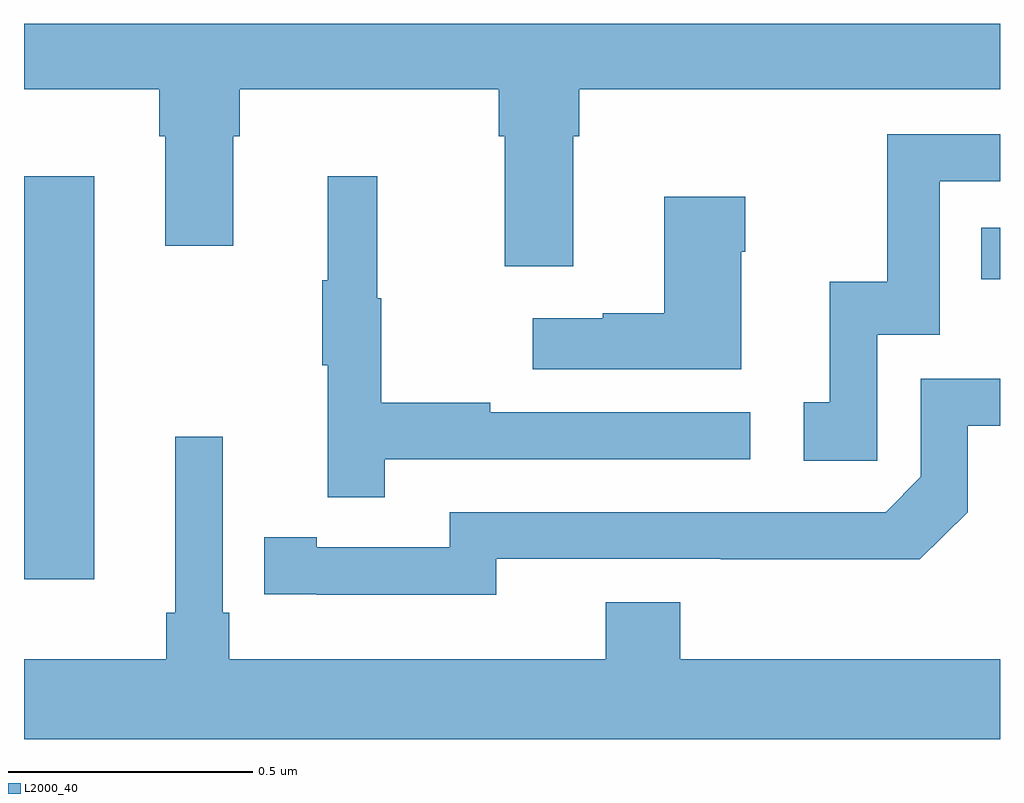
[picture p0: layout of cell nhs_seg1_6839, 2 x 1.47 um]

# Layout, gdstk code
import gdstk
lib = gdstk.Library(unit=1e-6, precision=1e-09)
def R(c, l, rs):  # rectangles x0, y0, x1, y1
    for r in rs: c.add(gdstk.rectangle(r[:2], r[2:], *l))
def P(c, l, *ps):  # polygons
    for p in ps: c.add(gdstk.Polygon(p, *l))
L2000_40 = (2000, 40)

nhs_seg1_6839 = lib.new_cell('nhs_seg1_6839')
R(nhs_seg1_6839, L2000_40, [(196,552.06,196.144,552.886), (197.962,552.675,198,552.781)])
P(nhs_seg1_6839, L2000_40, [(197.125,552.968),(197.138,552.968),(197.138,553.064),(198,553.064),(198,553.199),(196,553.199),(196,553.064),(196.277,553.064),(196.277,552.968),(196.289,552.968),(196.289,552.744),(196.429,552.744),(196.429,552.968),(196.442,552.968),(196.442,553.064),(196.973,553.064),(196.973,552.968),(196.985,552.968),(196.985,552.702),(197.125,552.702)],
  [(197.748,552.561),(197.877,552.561),(197.877,552.876),(198,552.876),(198,552.972),(197.769,552.972),(197.769,552.67),(197.651,552.67),(197.651,552.423),(197.598,552.423),(197.598,552.303),(197.748,552.303)],
  [(196.739,552.306),(197.488,552.306),(197.488,552.402),(196.955,552.402),(196.955,552.422),(196.732,552.422),(196.732,552.636),(196.724,552.636),(196.724,552.886),(196.622,552.886),(196.622,552.673),(196.611,552.673),(196.611,552.499),(196.622,552.499),(196.622,552.228),(196.739,552.228)],
  [(197.47,552.731),(197.478,552.731),(197.478,552.844),(197.312,552.844),(197.312,552.605),(197.186,552.605),(197.186,552.595),(197.043,552.595),(197.043,552.491),(197.47,552.491)],
  [(196.968,552.102),(197.428,552.102),(197.428,552.101),(197.836,552.101),(197.934,552.198),(197.934,552.375),(198,552.375),(198,552.471),(197.838,552.471),(197.838,552.27),(197.766,552.198),(196.872,552.198),(196.872,552.126),(196.6,552.126),(196.6,552.146),(196.492,552.146),(196.492,552.03),(196.6,552.03),(196.6,552.029),(196.968,552.029)],
  [(198,551.896),(197.345,551.896),(197.345,552.013),(197.192,552.013),(197.192,551.896),(196.421,551.896),(196.421,551.992),(196.407,551.992),(196.407,552.352),(196.31,552.352),(196.31,551.992),(196.291,551.992),(196.291,551.896),(196,551.896),(196,551.732),(198,551.732)])

lib.write_gds('nhs_seg1_6839.gds')
